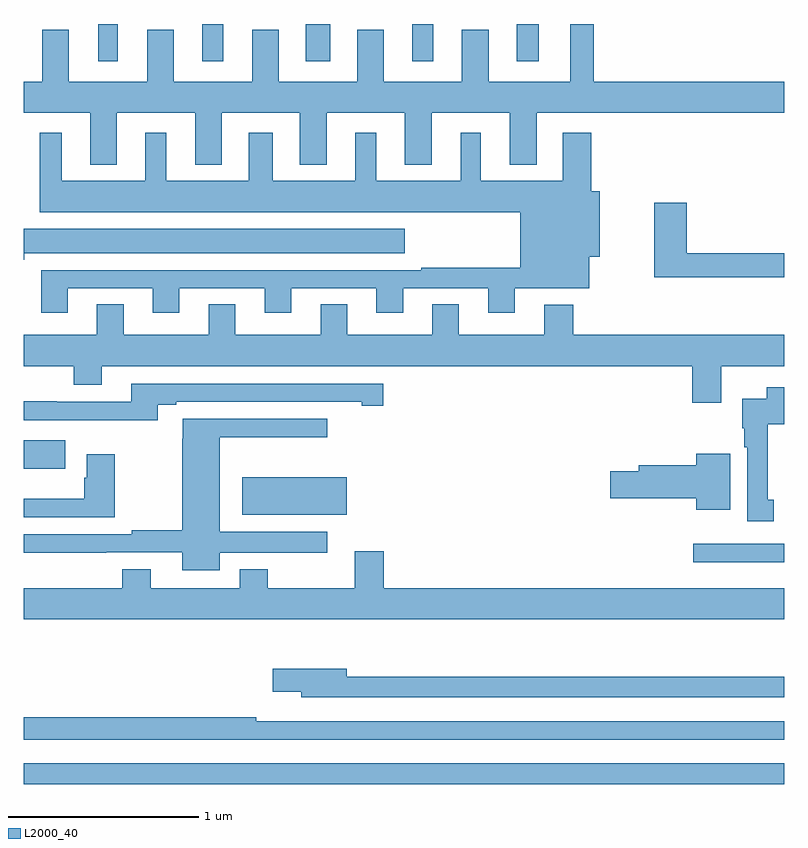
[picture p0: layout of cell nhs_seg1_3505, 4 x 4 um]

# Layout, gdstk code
import gdstk
lib = gdstk.Library(unit=1e-6, precision=1e-09)
def R(c, l, rs):  # rectangles x0, y0, x1, y1
    for r in rs: c.add(gdstk.rectangle(r[:2], r[2:], *l))
def P(c, l, *ps):  # polygons
    for p in ps: c.add(gdstk.Polygon(p, *l))
L2000_40 = (2000, 40)

nhs_seg1_3505 = lib.new_cell('nhs_seg1_3505')
R(nhs_seg1_3505, L2000_40, [(301,548.202,305,548.31), (304.521,549.368,305,549.465), (302.15,549.617,302.698,549.814), (301,549.86,301.219,550.009), (301.391,552.003,301.495,552.199), (301.94,552.003,302.05,552.199), (302.483,552.003,302.611,552.199), (303.044,552.003,303.154,552.199), (303.593,552.003,303.709,552.199)])
P(nhs_seg1_3505, L2000_40, [(301.489,551.732),(301.901,551.732),(301.901,551.459),(302.041,551.459),(302.041,551.732),(302.453,551.732),(302.453,551.459),(302.593,551.459),(302.593,551.732),(303.005,551.732),(303.005,551.459),(303.145,551.459),(303.145,551.732),(303.557,551.732),(303.557,551.459),(303.697,551.459),(303.697,551.732),(305,551.732),(305,551.896),(303.997,551.896),(303.997,552.199),(303.875,552.199),(303.875,551.896),(303.445,551.896),(303.445,552.169),(303.305,552.169),(303.305,551.896),(302.893,551.896),(302.893,552.169),(302.753,552.169),(302.753,551.896),(302.341,551.896),(302.341,552.169),(302.201,552.169),(302.201,551.896),(301.789,551.896),(301.789,552.169),(301.649,552.169),(301.649,551.896),(301.237,551.896),(301.237,552.169),(301.097,552.169),(301.097,551.896),(301,551.896),(301,551.732),(301.349,551.732),(301.349,551.459),(301.489,551.459)],
  [(301.231,550.809),(301.679,550.809),(301.679,550.68),(301.819,550.68),(301.819,550.809),(302.267,550.809),(302.267,550.68),(302.407,550.68),(302.407,550.809),(302.855,550.809),(302.855,550.68),(302.995,550.68),(302.995,550.809),(303.443,550.809),(303.443,550.68),(303.583,550.68),(303.583,550.808),(303.973,550.808),(303.973,550.976),(304.03,550.976),(304.03,551.32),(303.986,551.32),(303.986,551.626),(303.836,551.626),(303.836,551.374),(303.403,551.374),(303.403,551.626),(303.299,551.626),(303.299,551.374),(302.854,551.374),(302.854,551.626),(302.744,551.626),(302.744,551.374),(302.311,551.374),(302.311,551.626),(302.183,551.626),(302.183,551.374),(301.75,551.374),(301.75,551.626),(301.64,551.626),(301.64,551.374),(301.201,551.374),(301.201,551.626),(301.085,551.626),(301.085,551.21),(303.611,551.21),(303.611,550.918),(303.091,550.918),(303.091,550.905),(301.091,550.905),(301.091,550.68),(301.231,550.68)],
  [(305,550.994),(304.487,550.994),(304.487,551.26),(304.316,551.26),(304.316,550.866),(305,550.866)],
  [(301.003,550.994),(303.004,550.994),(303.004,551.122),(301,551.122),(301,550.958),(301.003,550.958)],
  [(304.669,550.4),(305,550.4),(305,550.564),(303.89,550.564),(303.89,550.723),(303.737,550.723),(303.737,550.564),(303.289,550.564),(303.289,550.724),(303.149,550.724),(303.149,550.564),(302.701,550.564),(302.701,550.724),(302.561,550.724),(302.561,550.564),(302.113,550.564),(302.113,550.724),(301.973,550.724),(301.973,550.564),(301.525,550.564),(301.525,550.724),(301.385,550.724),(301.385,550.564),(301,550.564),(301,550.4),(301.264,550.4),(301.264,550.301),(301.411,550.301),(301.411,550.4),(304.517,550.4),(304.517,550.206),(304.669,550.206)],
  [(301.705,550.196),(301.801,550.196),(301.801,550.212),(302.777,550.212),(302.777,550.192),(302.89,550.192),(302.89,550.308),(301.565,550.308),(301.565,550.212),(301.175,550.212),(301.175,550.214),(301,550.214),(301,550.116),(301.306,550.116),(301.306,550.115),(301.705,550.115)],
  [(304.945,549.698),(304.912,549.698),(304.912,550.094),(305,550.094),(305,550.288),(304.907,550.288),(304.907,550.228),(304.778,550.228),(304.778,550.074),(304.79,550.074),(304.79,549.974),(304.805,549.974),(304.805,549.585),(304.945,549.585)],
  [(302.032,549.419),(302.596,549.419),(302.596,549.529),(302.032,549.529),(302.032,550.025),(302.596,550.025),(302.596,550.122),(301.836,550.122),(301.836,550.019),(301.835,550.019),(301.835,549.536),(301.567,549.536),(301.567,549.516),(301,549.516),(301,549.419),(301.433,549.419),(301.433,549.42),(301.835,549.42),(301.835,549.326),(302.032,549.326)],
  [(304.717,549.94),(304.538,549.94),(304.538,549.878),(304.235,549.878),(304.235,549.848),(304.086,549.848),(304.086,549.706),(304.538,549.706),(304.538,549.644),(304.717,549.644)],
  [(301.479,549.937),(301.331,549.937),(301.331,549.812),(301.319,549.812),(301.319,549.703),(301,549.703),(301,549.606),(301.479,549.606)],
  [(305,549.232),(302.894,549.232),(302.894,549.427),(302.741,549.427),(302.741,549.232),(302.283,549.232),(302.283,549.331),(302.135,549.331),(302.135,549.232),(301.669,549.232),(301.669,549.331),(301.517,549.331),(301.517,549.232),(301,549.232),(301,549.068),(305,549.068)],
  [(305,548.767),(302.698,548.767),(302.698,548.809),(302.31,548.809),(302.31,548.687),(302.459,548.687),(302.459,548.658),(305,548.658)],
  [(305,548.532),(302.222,548.532),(302.222,548.552),(301,548.552),(301,548.436),(305,548.436)])

lib.write_gds('nhs_seg1_3505.gds')
